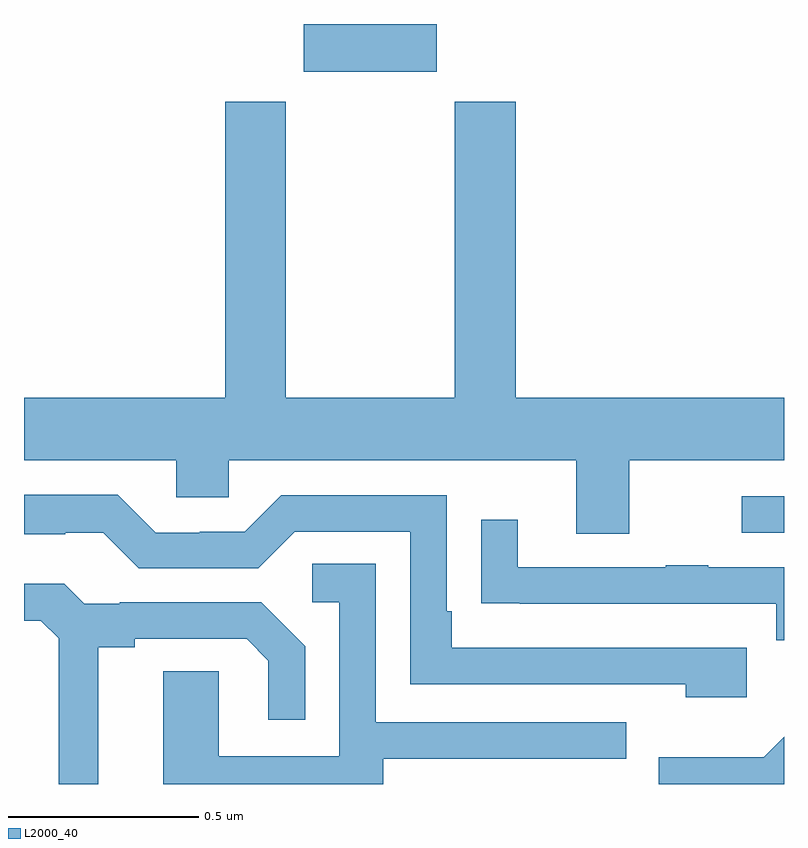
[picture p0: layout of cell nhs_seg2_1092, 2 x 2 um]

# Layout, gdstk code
import gdstk
lib = gdstk.Library(unit=1e-6, precision=1e-09)
def R(c, l, rs):  # rectangles x0, y0, x1, y1
    for r in rs: c.add(gdstk.rectangle(r[:2], r[2:], *l))
def P(c, l, *ps):  # polygons
    for p in ps: c.add(gdstk.Polygon(p, *l))
L2000_40 = (2000, 40)

nhs_seg2_1092 = lib.new_cell('nhs_seg2_1092')
R(nhs_seg2_1092, L2000_40, [(125.889,631.461,126,631.557), (124.736,632.675,125.086,632.8)])
P(nhs_seg2_1092, L2000_40, [(125.593,631.652),(126,631.652),(126,631.816),(125.294,631.816),(125.294,632.596),(125.134,632.596),(125.134,631.816),(124.689,631.816),(124.689,632.596),(124.529,632.596),(124.529,631.816),(124,631.816),(124,631.652),(124.401,631.652),(124.401,631.554),(124.539,631.554),(124.539,631.652),(125.453,631.652),(125.453,631.458),(125.593,631.458)],
  [(125.902,631.158),(125.125,631.158),(125.125,631.255),(125.112,631.255),(125.112,631.56),(124.677,631.56),(124.581,631.464),(124.463,631.464),(124.463,631.461),(124.347,631.461),(124.247,631.561),(124,631.561),(124,631.457),(124.109,631.457),(124.109,631.461),(124.209,631.461),(124.302,631.368),(124.617,631.368),(124.713,631.464),(125.016,631.464),(125.016,631.062),(125.741,631.062),(125.741,631.028),(125.902,631.028)],
  [(126,631.371),(125.801,631.371),(125.801,631.376),(125.689,631.376),(125.689,631.371),(125.299,631.371),(125.299,631.495),(125.203,631.495),(125.203,631.276),(125.305,631.276),(125.305,631.275),(125.98,631.275),(125.98,631.178),(126,631.178)],
  [(124.945,630.867),(125.585,630.867),(125.585,630.963),(124.926,630.963),(124.926,631.379),(124.758,631.379),(124.758,631.278),(124.83,631.278),(124.83,630.873),(124.512,630.873),(124.512,631.097),(124.367,631.097),(124.367,630.8),(124.945,630.8)],
  [(124.195,631.16),(124.291,631.16),(124.291,631.182),(124.586,631.182),(124.643,631.125),(124.643,630.969),(124.74,630.969),(124.74,631.162),(124.624,631.278),(124.252,631.278),(124.252,631.275),(124.158,631.275),(124.106,631.327),(124,631.327),(124,631.23),(124.044,631.23),(124.091,631.183),(124.091,630.8),(124.195,630.8)],
  [(126,630.924),(125.947,630.871),(125.67,630.871),(125.67,630.8),(126,630.8)])

lib.write_gds('nhs_seg2_1092.gds')
